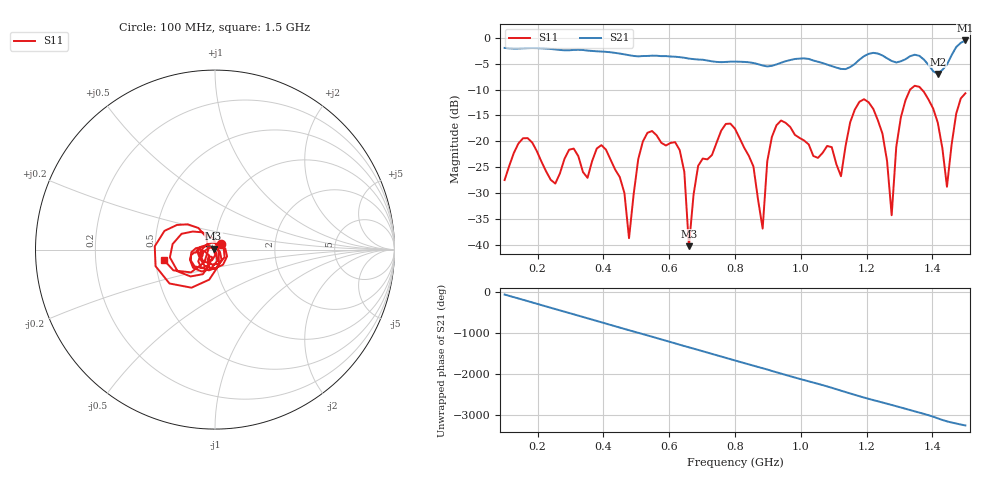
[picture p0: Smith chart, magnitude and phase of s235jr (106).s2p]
! NanoVNA-App
! Date: 2025-09-25 15:04:59
! Start: 100MHz Stop: 1,5GHz Points: 101
! S-Parameter data: F S11 S21 S12 S22
# Hz S RI R 50
!  Frequency  S11_Real  S11_Imag  S21_Real  S21_Imag  S12_Real  S12_Imag  S22_Real  S22_Imag
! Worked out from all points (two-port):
!   101 points, 100 MHz to 1.5 GHz, reference 50 ohm
!   highest |S21| = -0.52 dB at 1.5 GHz (marker M1); lowest = -7.0 dB at 1.416 GHz (marker M2)
!   |S21| within 3 dB of the highest: start of sweep to 493.2 MHz; 1.193 GHz to 1.251 GHz (57.49 MHz wide, 4.71 % of centre) (the widest 2 of 5)
!   lowest |S11| = -40.3 dB at 660 MHz (marker M3), VSWR 1.02, Z = 49.2 + j0.568 ohm
!   |S11| at or under -10 dB: start of sweep to 1.332 GHz; 1.368 GHz to end of sweep
!   S12 and S22 are empty: the file has one direction only
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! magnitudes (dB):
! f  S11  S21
! 100 MHz  -27.5  -2.0
! 156 MHz  -19.4  -2.0
! 338 MHz  -25.9  -2.4
! 408 MHz  -21.6  -2.7
! 478 MHz  -38.7  -3.4
! 520 MHz  -20.0  -3.5
! 576 MHz  -20.3  -3.5
! 632 MHz  -21.7  -3.7
! 660 MHz  -40.3  -4.0
! 688 MHz  -24.7  -4.2
! 800 MHz  -17.6  -4.6
! 884 MHz  -36.9  -5.4
! 926 MHz  -16.9  -5.2
! 1.038 GHz  -22.8  -4.4
! 1.122 GHz  -26.7  -6.0
! 1.206 GHz  -12.5  -3.1
! 1.276 GHz  -34.3  -4.5
! 1.29 GHz  -21.0  -4.8
! 1.332 GHz  -10.0  -3.6
! 1.416 GHz  -16.4  -7.0
! 1.444 GHz  -28.8  -5.2
! 1.5 GHz  -10.7  -0.5
